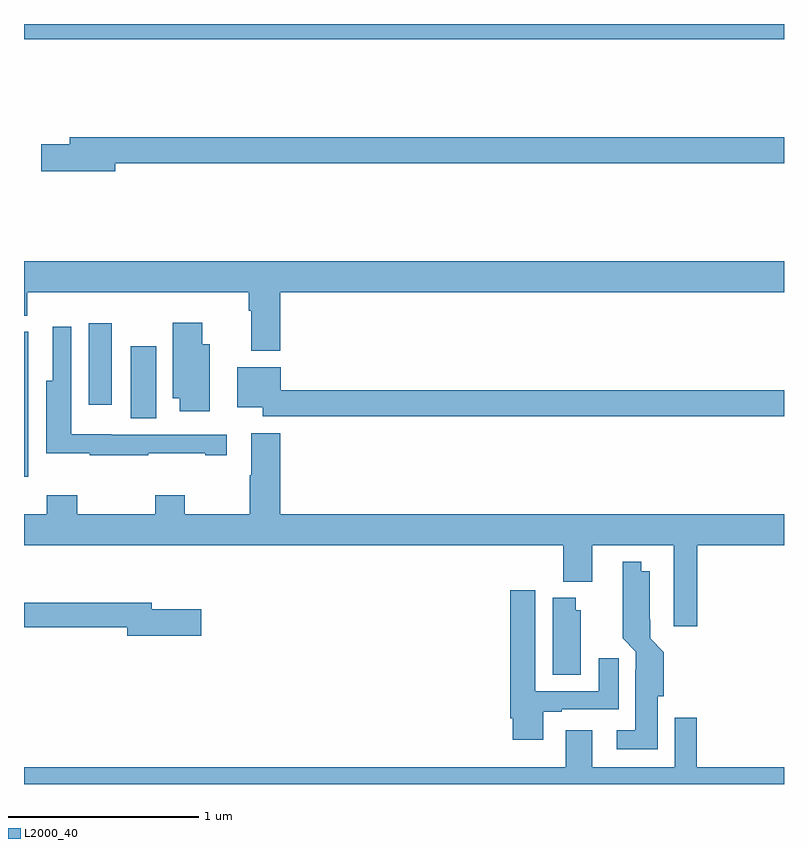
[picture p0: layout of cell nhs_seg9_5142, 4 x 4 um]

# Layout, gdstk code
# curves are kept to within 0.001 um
import gdstk
lib = gdstk.Library(unit=1e-6, precision=1e-09)
def R(c, l, rs):  # rectangles x0, y0, x1, y1
    for r in rs: c.add(gdstk.rectangle(r[:2], r[2:], *l))
def P(c, l, *ps):  # polygons
    for p in ps: c.add(gdstk.Polygon(p, *l))
L2000_40 = (2000, 40)

nhs_seg9_5142 = lib.new_cell('nhs_seg9_5142')
R(nhs_seg9_5142, L2000_40, [(409,1194.117,409.023,1194.88), (409.562,1194.424,409.696,1194.805), (409.34,1194.495,409.462,1194.925), (409,1196.42,413,1196.5)])
P(nhs_seg9_5142, L2000_40, [(409.48,1195.768),(413,1195.768),(413,1195.904),(409.241,1195.904),(409.241,1195.868),(409.092,1195.868),(409.092,1195.726),(409.48,1195.726)],
  [(410.348,1195.088),(413,1195.088),(413,1195.252),(409,1195.252),(409,1194.965),(409.016,1194.965),(409.016,1195.088),(410.183,1195.088),(410.183,1194.992),(410.195,1194.992),(410.195,1194.779),(410.348,1194.779)],
  [(409.978,1194.814),(409.939,1194.814),(409.939,1194.928),(409.784,1194.928),(409.784,1194.53),(409.82,1194.53),(409.82,1194.462),(409.978,1194.462)],
  [(409.655,1194.241),(409.955,1194.241),(409.955,1194.231),(410.068,1194.231),(410.068,1194.339),(409.458,1194.339),(409.458,1194.34),(409.248,1194.34),(409.248,1194.907),(409.152,1194.907),(409.152,1194.622),(409.118,1194.622),(409.118,1194.241),(409.345,1194.241),(409.345,1194.231),(409.655,1194.231)],
  [(413,1194.572),(410.35,1194.572),(410.35,1194.694),(410.123,1194.694),(410.123,1194.482),(410.256,1194.482),(410.256,1194.436),(413,1194.436)],
  [(412.544,1193.756),(413,1193.756),(413,1193.92),(410.348,1193.92),(410.348,1194.346),(410.195,1194.346),(410.195,1194.125),(410.188,1194.125),(410.188,1193.92),(409.845,1193.92),(409.845,1194.019),(409.69,1194.019),(409.69,1193.92),(409.281,1193.92),(409.281,1194.019),(409.121,1194.019),(409.121,1193.92),(409,1193.92),(409,1193.756),(411.839,1193.756),(411.839,1193.564),(411.991,1193.564),(411.991,1193.756),(412.421,1193.756),(412.421,1193.331),(412.544,1193.331)],
  [(412.336,1192.962),(412.367,1192.962),(412.367,1193.194),(412.295,1193.266),(412.294,1193.62),(412.249,1193.62),(412.249,1193.671),(412.152,1193.671),(412.151,1193.266),(412.221,1193.196),(412.221,1193.102),(412.217,1193.102),(412.217,1192.783),(412.119,1192.783),(412.119,1192.682),(412.336,1192.682)],
  [(411.733,1192.881),(411.829,1192.881),(411.829,1192.893),(412.129,1192.893),(412.129,1193.161),(412.025,1193.161),(412.025,1192.989),(411.691,1192.989),(411.691,1193.521),(411.56,1193.521),(411.56,1192.846),(411.572,1192.846),(411.572,1192.734),(411.733,1192.734)],
  [(411.931,1193.415),(411.904,1193.415),(411.904,1193.479),(411.782,1193.479),(411.782,1193.074),(411.931,1193.074)],
  [(409.933,1193.421),(409.672,1193.421),(409.672,1193.455),(409,1193.455),(409,1193.326),(409.544,1193.326),(409.544,1193.279),(409.933,1193.279)],
  [(413,1192.588),(412.541,1192.588),(412.541,1192.849),(412.425,1192.849),(412.425,1192.588),(411.991,1192.588),(411.991,1192.783),(411.851,1192.783),(411.851,1192.588),(409,1192.588),(409,1192.5),(413,1192.5)])

lib.write_gds('nhs_seg9_5142.gds')
